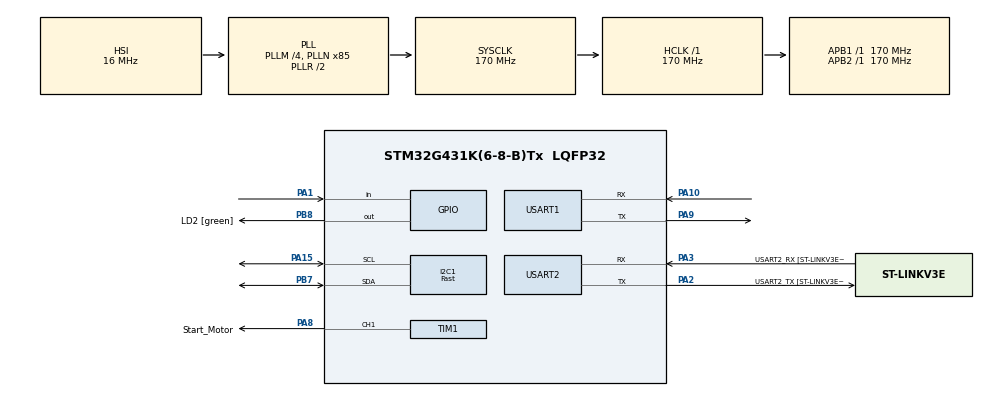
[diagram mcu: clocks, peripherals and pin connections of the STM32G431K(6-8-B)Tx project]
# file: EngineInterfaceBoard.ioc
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FREERTOS.Queues01=Q_Sensors,3,MMS,0,Static,Q_SensorsBuffer,Q_SensorsControlBlock;Q_Commands,3,MMS,0,Static,Q_CommandsBuffer,Q_CommandsControlBlock;Q_Output,3,MMS,0,Static,Q_OutputBuffer,Q_OutputControlBlock;Q_Controller,3,MMS,0,Static,Q_ControllerBuffer,Q_ControllerControlBlock
FREERTOS.Tasks01=Commander,32,128,StartCommander,Default,NULL,Static,CommanderBuffer,CommanderControlBlock;Controller,32,128,StartController,Default,NULL,Static,ControllerBuffer,ControllerControlBlock;SensorCollector,24,128,StartSensorCollector,Default,NULL,Static,SensorCollectorBuffer,SensorCollectorControlBlock;Output,24,128,StartOutput,Default,NULL,Static,OutputBuffer,OutputControlBlock;MessageManager,32,128,StartMessageManager,Default,NULL,Static,MessageManagerBuffer,MessageManagerControlBlock
FREERTOS.configUSE_NEWLIB_REENTRANT=1
I2C1.I2C_Speed_Mode=I2C_Fast
I2C1.Timing=0x10802D9B
Mcu.Family=STM32G4
Mcu.Name=STM32G431K(6-8-B)Tx
Mcu.Package=LQFP32
NVIC.PriorityGroup=NVIC_PRIORITYGROUP_4
NVIC.TIM2_IRQn=true\:5\:0\:false\:false\:true\:true\:true\:true\:true
NVIC.TIM8_UP_IRQn=true\:15\:0\:false\:false\:true\:false\:false\:true\:true
NVIC.TimeBase=TIM8_UP_IRQn
NVIC.TimeBaseIP=TIM8
PA1.Signal=GPIO_Input
PA10.Mode=Asynchronous
PA10.Signal=USART1_RX
PA13.GPIO_Label=T_SWDIO
PA13.Mode=Serial_Wire
PA13.Signal=SYS_JTMS-SWDIO
PA14.GPIO_Label=T_SWCLK
PA14.Mode=Serial_Wire
PA14.Signal=SYS_JTCK-SWCLK
PA15.Mode=I2C
PA15.Signal=I2C1_SCL
PA2.GPIO_Label=USART2_TX [ST-LINKV3E_VCP_RX]
PA2.Mode=Asynchronous
PA2.Signal=USART2_TX
PA3.GPIO_Label=USART2_RX [ST-LINKV3E_VCP_TX]
PA3.Mode=Asynchronous
PA3.Signal=USART2_RX
PA8.GPIO_Label=Start_Motor
PA8.Signal=S_TIM1_CH1
PA9.Mode=Asynchronous
PA9.Signal=USART1_TX
PB3.GPIO_Label=T_SWO
PB3.Signal=SYS_JTDO-SWO
PB7.Mode=I2C
PB7.Signal=I2C1_SDA
PB8-BOOT0.GPIO_Label=LD2 [green]
PB8-BOOT0.Signal=GPIO_Output
ProjectManager.HeapSize=0x200
ProjectManager.StackSize=0x400
ProjectManager.TargetToolchain=STM32CubeIDE
RCC.ADC12Freq_Value=170000000
RCC.AHBFreq_Value=170000000
RCC.APB1Freq_Value=170000000
RCC.APB1TimFreq_Value=170000000
RCC.APB2Freq_Value=170000000
RCC.APB2TimFreq_Value=170000000
RCC.CortexFreq_Value=170000000
RCC.EXTERNAL_CLOCK_VALUE=12288000
RCC.HCLKFreq_Value=170000000
RCC.HSE_VALUE=8000000
RCC.HSI48_VALUE=48000000
RCC.HSI_VALUE=16000000
RCC.LSE_VALUE=32768
RCC.PLLM=RCC_PLLM_DIV4
RCC.PLLN=85
RCC.SYSCLKFreq_VALUE=170000000
RCC.SYSCLKSource=RCC_SYSCLKSOURCE_PLLCLK
RCC.USBFreq_Value=170000000
RCC.VCOOutputFreq_Value=340000000
SH.S_TIM1_CH1.0=TIM1_CH1,PWM Generation1 CH1
TIM1.Channel-PWM\ Generation1\ CH1=TIM_CHANNEL_1
TIM1.PeriodNoDither=2500-1
TIM1.Prescaler=170-1
TIM2.PeriodNoDither=100-1
TIM2.Prescaler=17-1
USART1.VirtualMode-Asynchronous=VM_ASYNC
USART2.VirtualMode-Asynchronous=VM_ASYNC
USART2.WordLength=WORDLENGTH_8B
VP_FREERTOS_VS_CMSIS_V2.Mode=CMSIS_V2
VP_SYS_VS_DBSignals.Mode=DisableDeadBatterySignals
VP_SYS_VS_tim8.Mode=TIM8
VP_TIM1_VS_ClockSourceINT.Mode=Internal
VP_TIM2_VS_ClockSourceINT.Mode=Internal
board=NUCLEO-G431KB

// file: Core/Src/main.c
/* USER CODE BEGIN Header */
/**
  ******************************************************************************
  * @file           : main.c
  * @brief          : Main program body
  ******************************************************************************
  * @attention
  *
  * Copyright (c) 2022 STMicroelectronics.
  * All rights reserved.
  *
  * This software is licensed under terms that can be found in the LICENSE file
  * in the root directory of this software component.
  * If no LICENSE file comes with this software, it is provided AS-IS.
  *
  ******************************************************************************
  */
/* USER CODE END Header */
#include "main.h"
#include "cmsis_os.h"

/* USER CODE BEGIN Includes */
#include "stdio.h"
/* USER CODE END Includes */

typedef StaticTask_t osStaticThreadDef_t;
typedef StaticQueue_t osStaticMessageQDef_t;

 I2C_HandleTypeDef hi2c1;

TIM_HandleTypeDef htim1;
TIM_HandleTypeDef htim2;

UART_HandleTypeDef huart1;
UART_HandleTypeDef huart2;

/* Definitions for Commander */
osThreadId_t CommanderHandle;
uint32_t CommanderBuffer[ 128 ];
osStaticThreadDef_t CommanderControlBlock;
const osThreadAttr_t Commander_attributes = {
  .name = "Commander",
  .stack_mem = &CommanderBuffer[0],
  .stack_size = sizeof(CommanderBuffer),
  .cb_mem = &CommanderControlBlock,
  .cb_size = sizeof(CommanderControlBlock),
  .priority = (osPriority_t) osPriorityAboveNormal,
};
/* Definitions for Controller */
osThreadId_t ControllerHandle;
uint32_t ControllerBuffer[ 128 ];
osStaticThreadDef_t ControllerControlBlock;
const osThreadAttr_t Controller_attributes = {
  .name = "Controller",
  .stack_mem = &ControllerBuffer[0],
  .stack_size = sizeof(ControllerBuffer),
  .cb_mem = &ControllerControlBlock,
  .cb_size = sizeof(ControllerControlBlock),
  .priority = (osPriority_t) osPriorityAboveNormal,
};
/* Definitions for SensorCollector */
osThreadId_t SensorCollectorHandle;
uint32_t SensorCollectorBuffer[ 128 ];
osStaticThreadDef_t SensorCollectorControlBlock;
const osThreadAttr_t SensorCollector_attributes = {
  .name = "SensorCollector",
  .stack_mem = &SensorCollectorBuffer[0],
  .stack_size = sizeof(SensorCollectorBuffer),
  .cb_mem = &SensorCollectorControlBlock,
  .cb_size = sizeof(SensorCollectorControlBlock),
  .priority = (osPriority_t) osPriorityNormal,
};
/* Definitions for Output */
osThreadId_t OutputHandle;
uint32_t OutputBuffer[ 128 ];
osStaticThreadDef_t OutputControlBlock;
const osThreadAttr_t Output_attributes = {
  .name = "Output",
  .stack_mem = &OutputBuffer[0],
  .stack_size = sizeof(OutputBuffer),
  .cb_mem = &OutputControlBlock,
  .cb_size = sizeof(OutputControlBlock),
  .priority = (osPriority_t) osPriorityNormal,
};
/* Definitions for MessageManager */
osThreadId_t MessageManagerHandle;
uint32_t MessageManagerBuffer[ 128 ];
osStaticThreadDef_t MessageManagerControlBlock;
const osThreadAttr_t MessageManager_attributes = {
  .name = "MessageManager",
  .stack_mem = &MessageManagerBuffer[0],
  .stack_size = sizeof(MessageManagerBuffer),
  .cb_mem = &MessageManagerControlBlock,
  .cb_size = sizeof(MessageManagerControlBlock),
  .priority = (osPriority_t) osPriorityAboveNormal,
};
/* Definitions for Q_Sensors */
osMessageQueueId_t Q_SensorsHandle;
uint8_t Q_SensorsBuffer[ 3 * sizeof( MMS ) ];
osStaticMessageQDef_t Q_SensorsControlBlock;
const osMessageQueueAttr_t Q_Sensors_attributes = {
  .name = "Q_Sensors",
  .cb_mem = &Q_SensorsControlBlock,
  .cb_size = sizeof(Q_SensorsControlBlock),
  .mq_mem = &Q_SensorsBuffer,
  .mq_size = sizeof(Q_SensorsBuffer)
};
/* Definitions for Q_Commands */
osMessageQueueId_t Q_CommandsHandle;
uint8_t Q_CommandsBuffer[ 3 * sizeof( MMS ) ];
osStaticMessageQDef_t Q_CommandsControlBlock;
const osMessageQueueAttr_t Q_Commands_attributes = {
  .name = "Q_Commands",
  .cb_mem = &Q_CommandsControlBlock,
  .cb_size = sizeof(Q_CommandsControlBlock),
  .mq_mem = &Q_CommandsBuffer,
  .mq_size = sizeof(Q_CommandsBuffer)
};
/* Definitions for Q_Output */
osMessageQueueId_t Q_OutputHandle;
uint8_t Q_OutputBuffer[ 3 * sizeof( MMS ) ];
osStaticMessageQDef_t Q_OutputControlBlock;
const osMessageQueueAttr_t Q_Output_attributes = {
  .name = "Q_Output",
  .cb_mem = &Q_OutputControlBlock,
  .cb_size = sizeof(Q_OutputControlBlock),
  .mq_mem = &Q_OutputBuffer,
  .mq_size = sizeof(Q_OutputBuffer)
};
/* Definitions for Q_Controller */
osMessageQueueId_t Q_ControllerHandle;
uint8_t Q_ControllerBuffer[ 3 * sizeof( MMS ) ];
osStaticMessageQDef_t Q_ControllerControlBlock;
const osMessageQueueAttr_t Q_Controller_attributes = {
  .name = "Q_Controller",
  .cb_mem = &Q_ControllerControlBlock,
  .cb_size = sizeof(Q_ControllerControlBlock),
  .mq_mem = &Q_ControllerBuffer,
  .mq_size = sizeof(Q_ControllerBuffer)
};

void SystemClock_Config(void);
static void MX_GPIO_Init(void);
static void MX_USART2_UART_Init(void);
static void MX_TIM1_Init(void);
static void MX_USART1_UART_Init(void);
static void MX_TIM2_Init(void);
static void MX_I2C1_Init(void);
void StartCommander(void *argument);
void StartController(void *argument);
void StartSensorCollector(void *argument);
void StartOutput(void *argument);
void StartMessageManager(void *argument);

/* USER CODE BEGIN 0 */
int count = 0, ival=0;
volatile unsigned long gTick = 1;
/* USER CODE END 0 */

int main(void)
{

  /* MCU Configuration--------------------------------------------------------*/

  /* Reset of all peripherals, Initializes the Flash interface and the Systick. */
  HAL_Init();

  /* Configure the system clock */
  SystemClock_Config();

  /* Initialize all configured peripherals */
  MX_GPIO_Init();
  MX_USART2_UART_Init();
  MX_TIM1_Init();
  MX_USART1_UART_Init();
  MX_TIM2_Init();
  MX_I2C1_Init();

  /* Init scheduler */
  osKernelInitialize();

  /* Create the queue(s) */
  /* creation of Q_Sensors */
  Q_SensorsHandle = osMessageQueueNew (3, sizeof(MMS), &Q_Sensors_attributes);

  /* creation of Q_Commands */
  Q_CommandsHandle = osMessageQueueNew (3, sizeof(MMS), &Q_Commands_attributes);

  /* creation of Q_Output */
  Q_OutputHandle = osMessageQueueNew (3, sizeof(MMS), &Q_Output_attributes);

  /* creation of Q_Controller */
  Q_ControllerHandle = osMessageQueueNew (3, sizeof(MMS), &Q_Controller_attributes);

  /* Create the thread(s) */
  /* creation of Commander */
  CommanderHandle = osThreadNew(StartCommander, NULL, &Commander_attributes);

  /* creation of Controller */
  ControllerHandle = osThreadNew(StartController, NULL, &Controller_attributes);

  /* creation of SensorCollector */
  SensorCollectorHandle = osThreadNew(StartSensorCollector, NULL, &SensorCollector_attributes);

  /* creation of Output */
  OutputHandle = osThreadNew(StartOutput, NULL, &Output_attributes);

  /* creation of MessageManager */
  MessageManagerHandle = osThreadNew(StartMessageManager, NULL, &MessageManager_attributes);

  /* Start scheduler */
  osKernelStart();

  /* We should never get here as control is now taken by the scheduler */
  /* Infinite loop */
  while (1)
  {

  }
}

void SystemClock_Config(void)
{
  RCC_OscInitTypeDef RCC_OscInitStruct = {0};
  RCC_ClkInitTypeDef RCC_ClkInitStruct = {0};

  /** Configure the main internal regulator output voltage
  */
  HAL_PWREx_ControlVoltageScaling(PWR_REGULATOR_VOLTAGE_SCALE1_BOOST);

  /** Initializes the RCC Oscillators according to the specified parameters
  * in the RCC_OscInitTypeDef structure.
  */
  RCC_OscInitStruct.OscillatorType = RCC_OSCILLATORTYPE_HSI;
  RCC_OscInitStruct.HSIState = RCC_HSI_ON;
  RCC_OscInitStruct.HSICalibrationValue = RCC_HSICALIBRATION_DEFAULT;
  RCC_OscInitStruct.PLL.PLLState = RCC_PLL_ON;
  RCC_OscInitStruct.PLL.PLLSource = RCC_PLLSOURCE_HSI;
  RCC_OscInitStruct.PLL.PLLM = RCC_PLLM_DIV4;
  RCC_OscInitStruct.PLL.PLLN = 85;
  RCC_OscInitStruct.PLL.PLLP = RCC_PLLP_DIV2;
  RCC_OscInitStruct.PLL.PLLQ = RCC_PLLQ_DIV2;
  RCC_OscInitStruct.PLL.PLLR = RCC_PLLR_DIV2;
  if (HAL_RCC_OscConfig(&RCC_OscInitStruct) != HAL_OK)
  {
    Error_Handler();
  }

  /** Initializes the CPU, AHB and APB buses clocks
  */
  RCC_ClkInitStruct.ClockType = RCC_CLOCKTYPE_HCLK|RCC_CLOCKTYPE_SYSCLK
                              |RCC_CLOCKTYPE_PCLK1|RCC_CLOCKTYPE_PCLK2;
  RCC_ClkInitStruct.SYSCLKSource = RCC_SYSCLKSOURCE_PLLCLK;
  RCC_ClkInitStruct.AHBCLKDivider = RCC_SYSCLK_DIV1;
  RCC_ClkInitStruct.APB1CLKDivider = RCC_HCLK_DIV1;
  RCC_ClkInitStruct.APB2CLKDivider = RCC_HCLK_DIV1;

  if (HAL_RCC_ClockConfig(&RCC_ClkInitStruct, FLASH_LATENCY_4) != HAL_OK)
  {
    Error_Handler();
  }
}

static void MX_I2C1_Init(void)
{

  hi2c1.Instance = I2C1;
  hi2c1.Init.Timing = 0x10802D9B;
  hi2c1.Init.OwnAddress1 = 0;
  hi2c1.Init.AddressingMode = I2C_ADDRESSINGMODE_7BIT;
  hi2c1.Init.DualAddressMode = I2C_DUALADDRESS_DISABLE;
  hi2c1.Init.OwnAddress2 = 0;
  hi2c1.Init.OwnAddress2Masks = I2C_OA2_NOMASK;
  hi2c1.Init.GeneralCallMode = I2C_GENERALCALL_DISABLE;
  hi2c1.Init.NoStretchMode = I2C_NOSTRETCH_DISABLE;
  if (HAL_I2C_Init(&hi2c1) != HAL_OK)
  {
    Error_Handler();
  }

  /** Configure Analogue filter
  */
  if (HAL_I2CEx_ConfigAnalogFilter(&hi2c1, I2C_ANALOGFILTER_ENABLE) != HAL_OK)
  {
    Error_Handler();
  }

  /** Configure Digital filter
  */
  if (HAL_I2CEx_ConfigDigitalFilter(&hi2c1, 0) != HAL_OK)
  {
    Error_Handler();
  }

}

static void MX_TIM1_Init(void)
{

  TIM_ClockConfigTypeDef sClockSourceConfig = {0};
  TIM_MasterConfigTypeDef sMasterConfig = {0};
  TIM_OC_InitTypeDef sConfigOC = {0};
  TIM_BreakDeadTimeConfigTypeDef sBreakDeadTimeConfig = {0};

  htim1.Instance = TIM1;
  htim1.Init.Prescaler = 170-1;
  htim1.Init.CounterMode = TIM_COUNTERMODE_UP;
  htim1.Init.Period = 2499;
  htim1.Init.ClockDivision = TIM_CLOCKDIVISION_DIV1;
  htim1.Init.RepetitionCounter = 0;
  htim1.Init.AutoReloadPreload = TIM_AUTORELOAD_PRELOAD_DISABLE;
  if (HAL_TIM_Base_Init(&htim1) != HAL_OK)
  {
    Error_Handler();
  }
  sClockSourceConfig.ClockSource = TIM_CLOCKSOURCE_INTERNAL;
  if (HAL_TIM_ConfigClockSource(&htim1, &sClockSourceConfig) != HAL_OK)
  {
    Error_Handler();
  }
  if (HAL_TIM_PWM_Init(&htim1) != HAL_OK)
  {
    Error_Handler();
  }
  sMasterConfig.MasterOutputTrigger = TIM_TRGO_RESET;
  sMasterConfig.MasterOutputTrigger2 = TIM_TRGO2_RESET;
  sMasterConfig.MasterSlaveMode = TIM_MASTERSLAVEMODE_DISABLE;
  if (HAL_TIMEx_MasterConfigSynchronization(&htim1, &sMasterConfig) != HAL_OK)
  {
    Error_Handler();
  }
  sConfigOC.OCMode = TIM_OCMODE_PWM1;
  sConfigOC.Pulse = 0;
  sConfigOC.OCPolarity = TIM_OCPOLARITY_HIGH;
  sConfigOC.OCNPolarity = TIM_OCNPOLARITY_HIGH;
  sConfigOC.OCFastMode = TIM_OCFAST_DISABLE;
  sConfigOC.OCIdleState = TIM_OCIDLESTATE_RESET;
  sConfigOC.OCNIdleState = TIM_OCNIDLESTATE_RESET;
  if (HAL_TIM_PWM_ConfigChannel(&htim1, &sConfigOC, TIM_CHANNEL_1) != HAL_OK)
  {
    Error_Handler();
  }
  sBreakDeadTimeConfig.OffStateRunMode = TIM_OSSR_DISABLE;
  sBreakDeadTimeConfig.OffStateIDLEMode = TIM_OSSI_DISABLE;
  sBreakDeadTimeConfig.LockLevel = TIM_LOCKLEVEL_OFF;
  sBreakDeadTimeConfig.DeadTime = 0;
  sBreakDeadTimeConfig.BreakState = TIM_BREAK_DISABLE;
  sBreakDeadTimeConfig.BreakPolarity = TIM_BREAKPOLARITY_HIGH;
  sBreakDeadTimeConfig.BreakFilter = 0;
  sBreakDeadTimeConfig.BreakAFMode = TIM_BREAK_AFMODE_INPUT;
  sBreakDeadTimeConfig.Break2State = TIM_BREAK2_DISABLE;
  sBreakDeadTimeConfig.Break2Polarity = TIM_BREAK2POLARITY_HIGH;
  sBreakDeadTimeConfig.Break2Filter = 0;
  sBreakDeadTimeConfig.Break2AFMode = TIM_BREAK_AFMODE_INPUT;
  sBreakDeadTimeConfig.AutomaticOutput = TIM_AUTOMATICOUTPUT_DISABLE;
  if (HAL_TIMEx_ConfigBreakDeadTime(&htim1, &sBreakDeadTimeConfig) != HAL_OK)
  {
    Error_Handler();
  }
  HAL_TIM_MspPostInit(&htim1);

}

static void MX_TIM2_Init(void)
{

  TIM_ClockConfigTypeDef sClockSourceConfig = {0};
  TIM_MasterConfigTypeDef sMasterConfig = {0};

  htim2.Instance = TIM2;
  htim2.Init.Prescaler = 17-1;
  htim2.Init.CounterMode = TIM_COUNTERMODE_UP;
  htim2.Init.Period = 99;
  htim2.Init.ClockDivision = TIM_CLOCKDIVISION_DIV1;
  htim2.Init.AutoReloadPreload = TIM_AUTORELOAD_PRELOAD_DISABLE;
  if (HAL_TIM_Base_Init(&htim2) != HAL_OK)
  {
    Error_Handler();
  }
  sClockSourceConfig.ClockSource = TIM_CLOCKSOURCE_INTERNAL;
  if (HAL_TIM_ConfigClockSource(&htim2, &sClockSourceConfig) != HAL_OK)
  {
    Error_Handler();
  }
  sMasterConfig.MasterOutputTrigger = TIM_TRGO_RESET;
  sMasterConfig.MasterSlaveMode = TIM_MASTERSLAVEMODE_DISABLE;
  if (HAL_TIMEx_MasterConfigSynchronization(&htim2, &sMasterConfig) != HAL_OK)
  {
    Error_Handler();
  }
  /* USER CODE BEGIN TIM2_Init 2 */
  HAL_TIM_Base_MspInit(&htim2);
  HAL_TIM_Base_Start_IT(&htim2);

  /* USER CODE END TIM2_Init 2 */

}

static void MX_USART1_UART_Init(void)
{

  huart1.Instance = USART1;
  huart1.Init.BaudRate = 115200;
  huart1.Init.WordLength = UART_WORDLENGTH_8B;
  huart1.Init.StopBits = UART_STOPBITS_1;
  huart1.Init.Parity = UART_PARITY_NONE;
  huart1.Init.Mode = UART_MODE_TX_RX;
  huart1.Init.HwFlowCtl = UART_HWCONTROL_NONE;
  huart1.Init.OverSampling = UART_OVERSAMPLING_16;
  huart1.Init.OneBitSampling = UART_ONE_BIT_SAMPLE_DISABLE;
  huart1.Init.ClockPrescaler = UART_PRESCALER_DIV1;
  huart1.AdvancedInit.AdvFeatureInit = UART_ADVFEATURE_NO_INIT;
  if (HAL_UART_Init(&huart1) != HAL_OK)
  {
    Error_Handler();
  }
  if (HAL_UARTEx_SetTxFifoThreshold(&huart1, UART_TXFIFO_THRESHOLD_1_8) != HAL_OK)
  {
    Error_Handler();
  }
  if (HAL_UARTEx_SetRxFifoThreshold(&huart1, UART_RXFIFO_THRESHOLD_1_8) != HAL_OK)
  {
    Error_Handler();
  }
  if (HAL_UARTEx_DisableFifoMode(&huart1) != HAL_OK)
  {
    Error_Handler();
  }

}

static void MX_USART2_UART_Init(void)
{

  huart2.Instance = USART2;
  huart2.Init.BaudRate = 115200;
  huart2.Init.WordLength = UART_WORDLENGTH_8B;
  huart2.Init.StopBits = UART_STOPBITS_1;
  huart2.Init.Parity = UART_PARITY_NONE;
  huart2.Init.Mode = UART_MODE_TX_RX;
  huart2.Init.HwFlowCtl = UART_HWCONTROL_NONE;
  huart2.Init.OverSampling = UART_OVERSAMPLING_16;
  huart2.Init.OneBitSampling = UART_ONE_BIT_SAMPLE_DISABLE;
  huart2.Init.ClockPrescaler = UART_PRESCALER_DIV1;
  huart2.AdvancedInit.AdvFeatureInit = UART_ADVFEATURE_NO_INIT;
  if (HAL_UART_Init(&huart2) != HAL_OK)
  {
    Error_Handler();
  }
  if (HAL_UARTEx_SetTxFifoThreshold(&huart2, UART_TXFIFO_THRESHOLD_1_8) != HAL_OK)
  {
    Error_Handler();
  }
  if (HAL_UARTEx_SetRxFifoThreshold(&huart2, UART_RXFIFO_THRESHOLD_1_8) != HAL_OK)
  {
    Error_Handler();
  }
  if (HAL_UARTEx_DisableFifoMode(&huart2) != HAL_OK)
  {
    Error_Handler();
  }

}

static void MX_GPIO_Init(void)
{
  GPIO_InitTypeDef GPIO_InitStruct = {0};

  /* GPIO Ports Clock Enable */
  __HAL_RCC_GPIOA_CLK_ENABLE();
  __HAL_RCC_GPIOB_CLK_ENABLE();

  /*Configure GPIO pin Output Level */
  HAL_GPIO_WritePin(LD2_GPIO_Port, LD2_Pin, GPIO_PIN_RESET);

  /*Configure GPIO pin : PA1 */
  GPIO_InitStruct.Pin = GPIO_PIN_1;
  GPIO_InitStruct.Mode = GPIO_MODE_INPUT;
  GPIO_InitStruct.Pull = GPIO_NOPULL;
  HAL_GPIO_Init(GPIOA, &GPIO_InitStruct);

  /*Configure GPIO pin : LD2_Pin */
  GPIO_InitStruct.Pin = LD2_Pin;
  GPIO_InitStruct.Mode = GPIO_MODE_OUTPUT_PP;
  GPIO_InitStruct.Pull = GPIO_NOPULL;
  GPIO_InitStruct.Speed = GPIO_SPEED_FREQ_LOW;
  HAL_GPIO_Init(LD2_GPIO_Port, &GPIO_InitStruct);

}

void StartCommander(void *argument)
{
  for(;;)
  {
    osDelay(1);
  }
}

void StartController(void *argument)
{
  for(;;)
  {
    osDelay(1);
  }
}

void StartSensorCollector(void *argument)
{
  /* USER CODE BEGIN StartSensorCollector */
  int value = 0;
  ENGINE_STATE state;
  int rpm_time = 0, real_count = 0, pre_count = 1;
  uint8_t buffer[30] = {0,};

  /* Infinite loop */
  for(;;)
  {
	value = HAL_GPIO_ReadPin(GPIOA, GPIO_PIN_1);

	state = getState();

	sprintf((char*)buffer, "%d | %f\r\n", value, state.temperature);
	HAL_UART_Transmit(&huart2, buffer, 30, HAL_TIMEOUT);

    osDelay(1);
  }
  /* USER CODE END StartSensorCollector */
}

void StartOutput(void *argument)
{
  /* USER CODE BEGIN StartOutput */
  HAL_TIM_PWM_Start(&htim1, TIM_CHANNEL_1);
  htim1.Instance->CCR1 =  1000;
  /* Infinite loop */
  for(;;)
  {

  }
  /* USER CODE END StartOutput */
}

void StartMessageManager(void *argument)
{
  for(;;)
  {
    osDelay(1);
  }
}

void HAL_TIM_PeriodElapsedCallback(TIM_HandleTypeDef *htim)
{
  if (htim->Instance == TIM8) {
    HAL_IncTick();
  }
}

void Error_Handler(void)
{
  __disable_irq();
  while (1)
  {
  }
}
